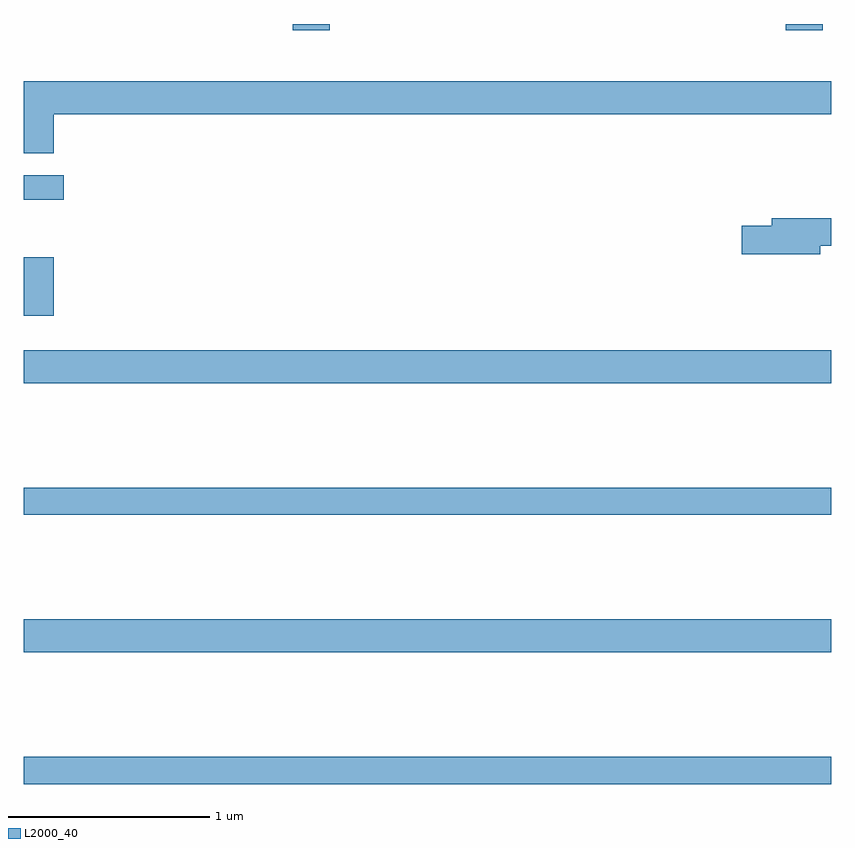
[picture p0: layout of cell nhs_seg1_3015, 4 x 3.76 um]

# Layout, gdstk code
import gdstk
lib = gdstk.Library(unit=1e-6, precision=1e-09)
def R(c, l, rs):  # rectangles x0, y0, x1, y1
    for r in rs: c.add(gdstk.rectangle(r[:2], r[2:], *l))
def P(c, l, *ps):  # polygons
    for p in ps: c.add(gdstk.Polygon(p, *l))
L2000_40 = (2000, 40)

nhs_seg1_3015 = lib.new_cell('nhs_seg1_3015')
R(nhs_seg1_3015, L2000_40, [(275,528.436,279,528.572), (275,529.088,279,529.252), (275,529.768,279,529.904), (275,530.42,279,530.584), (275,530.754,275.15,531.043), (275,531.329,275.2,531.451), (276.332,532.167,276.515,532.199), (278.774,532.167,278.957,532.199)])
P(nhs_seg1_3015, L2000_40, [(275.15,531.752),(279,531.752),(279,531.916),(275,531.916),(275,531.558),(275.15,531.558)],
  [(278.944,531.1),(279,531.1),(279,531.236),(278.705,531.236),(278.705,531.2),(278.556,531.2),(278.556,531.058),(278.944,531.058)])

lib.write_gds('nhs_seg1_3015.gds')
